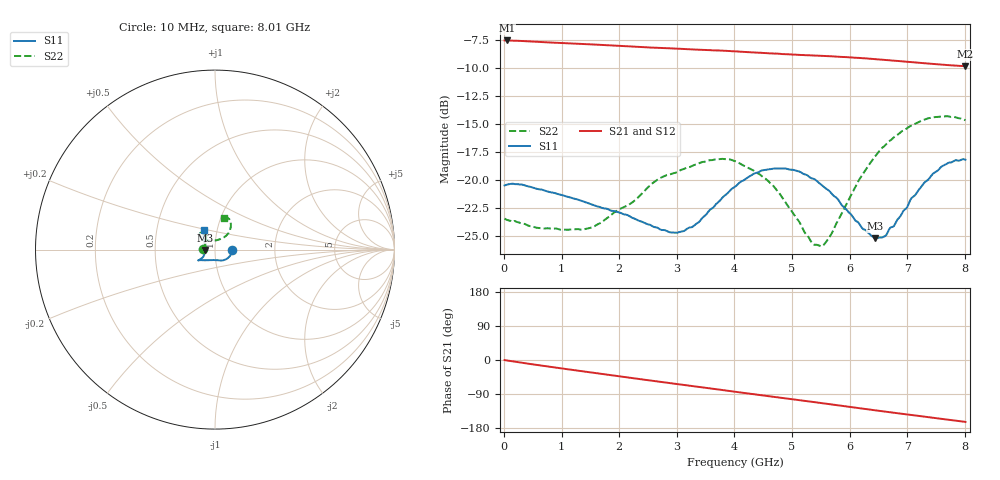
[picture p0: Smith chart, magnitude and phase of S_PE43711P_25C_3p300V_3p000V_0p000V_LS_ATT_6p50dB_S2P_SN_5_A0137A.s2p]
! Device ID: PE43711P
! File Path: z:\PE43711P\CHAR_NOM_04282014\AMB\3p300\LS_ATT_6p50dB\PE43711P_AMB_3p300V_3p000V_0p000V_LS_ATT_6p50dB_S2P_SN_5_A0137A.s2p
! Serial: 5
! Lot: A0137A
! Temp: 25C
! VDD: 3.300
! VSS: 0.000
! Control_Hi: 3.000
! Control_Lo: 0.000
! Attenuation Step: 6.50dB
! Port 1: RF1
! Port 2: RF2
! ThroughPath:1-2
! IDD: 0.0001279253
! ISS: -1.121e-007
#  Hz  S  RI  R  50
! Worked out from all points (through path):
!   801 points, 10 MHz to 8.01 GHz, reference 50 ohm
!   highest |S21| = -7.58 dB at 50 MHz (marker M1); lowest = -9.9 dB at 8.01 GHz (marker M2)
!   group delay of S21, straight-line fit = 56.3 ps
!   lowest |S11| = -25.2 dB at 6.44 GHz (marker M3), VSWR 1.12, Z = 44.8 - j0.214 ohm
!   |S11| at or under -10 dB: start of sweep to end of sweep
!   |S22| runs from -26.0 to -14.3 dB; largest |S21 - S12| = 0.00074
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1e7  0.0941 -0.000356  0.4176 -0.00216  0.4179 -0.00226  -0.0669 0.000587
5e7  0.0948 -0.00232  0.4175 -0.00891  0.4176 -0.00885  -0.066 0.00175
6e8  0.084 -0.0339  0.3998 -0.0975  0.4001 -0.0975  -0.0605 0.00554
1.35e9  0.0578 -0.0557  0.3504 -0.199  0.3507 -0.1992  -0.0554 0.0222
2.19e9  0.0312 -0.0608  0.2677 -0.2876  0.2681 -0.2877  -0.0501 0.0596
2.68e9  0.0142 -0.0589  0.2116 -0.3241  0.2117 -0.3243  -0.0535 0.0852
2.98e9  -0.00147 -0.0578  0.1749 -0.3421  0.175 -0.3423  -0.0588 0.0896
3.27e9  -0.0193 -0.0583  0.1376 -0.3551  0.1379 -0.3554  -0.0654 0.0946
3.68e9  -0.0498 -0.0596  0.0845 -0.3673  0.0844 -0.3674  -0.0795 0.0938
4.01e9  -0.0718 -0.0588  0.0406 -0.3711  0.0404 -0.3714  -0.0873 0.0834
4.34e9  -0.0883 -0.0591  -0.00243 -0.3692  -0.00251 -0.3694  -0.0821 0.072
4.67e9  -0.0943 -0.0601  -0.0445 -0.3625  -0.0446 -0.3625  -0.0703 0.0624
5.04e9  -0.0924 -0.0599  -0.0889 -0.35  -0.0892 -0.3499  -0.0448 0.053
5.35e9  -0.0849 -0.0548  -0.125 -0.3354  -0.1252 -0.3358  -0.0168 0.0492
5.51e9  -0.0792 -0.052  -0.1432 -0.3265  -0.1432 -0.3266  -0.00033 0.0504
5.61e9  -0.0759 -0.0493  -0.1542 -0.3204  -0.154 -0.3206  0.0106 0.0525
6.15e9  -0.0595 -0.0245  -0.2091 -0.2798  -0.2093 -0.2798  0.0613 0.0766
6.44e9  -0.0546 -0.00238  -0.2337 -0.2533  -0.2339 -0.2535  0.0794 0.0987
6.68e9  -0.0562 0.0198  -0.2513 -0.2304  -0.2513 -0.2305  0.0863 0.1201
7.45e9  -0.0643 0.0846  -0.2912 -0.1506  -0.2914 -0.1506  0.0748 0.1738
7.7e9  -0.0654 0.0984  -0.2995 -0.1243  -0.2994 -0.124  0.0623 0.1813
8.01e9  -0.0594 0.1072  -0.307 -0.0918  -0.3073 -0.0911  0.05 0.177
